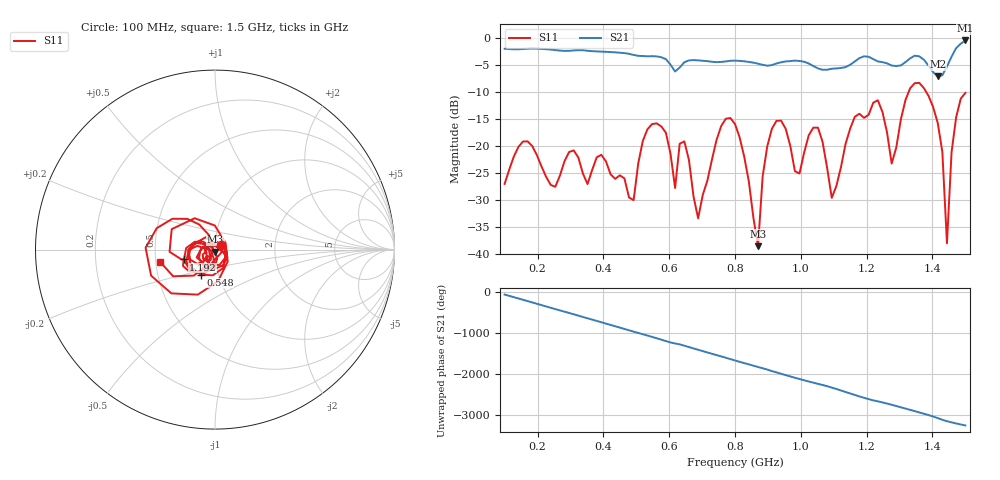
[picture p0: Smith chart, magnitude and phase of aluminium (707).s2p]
! NanoVNA-App
! Date: 2025-09-25 15:00:47
! Start: 100MHz Stop: 1,5GHz Points: 101
! S-Parameter data: F S11 S21 S12 S22
# Hz S RI R 50
!  Frequency  S11_Real  S11_Imag  S21_Real  S21_Imag  S12_Real  S12_Imag  S22_Real  S22_Imag
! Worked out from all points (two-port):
!   101 points, 100 MHz to 1.5 GHz, reference 50 ohm
!   highest |S21| = -0.39 dB at 1.5 GHz (marker M1); lowest = -7.0 dB at 1.416 GHz (marker M2)
!   |S21| within 3 dB of the highest: start of sweep to 566.6 MHz; 1.458 GHz to end of sweep (the widest 2 of 4)
!   lowest |S11| = -38.5 dB at 870 MHz (marker M3), VSWR 1.02, Z = 50.1 - j1.19 ohm
!   |S11| at or under -10 dB: start of sweep to 1.327 GHz; 1.382 GHz to end of sweep
!   S12 and S22 are empty: the file has one direction only
!   S11 on the Smith chart (normalised r, x): 100 MHz: 1.07, +0.06; 548 MHz: 0.82, -0.23; 1.192 GHz: 0.70, -0.08; 1.5 GHz: 0.53, -0.08
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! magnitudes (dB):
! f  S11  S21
! 100 MHz  -27.0  -1.9
! 338 MHz  -25.1  -2.2
! 492 MHz  -30.0  -3.1
! 548 MHz  -15.9  -3.3
! 576 MHz  -16.3  -3.5
! 618 MHz  -27.7  -6.1
! 646 MHz  -19.1  -4.4
! 688 MHz  -33.3  -4.1
! 800 MHz  -15.9  -4.1
! 870 MHz  -38.5  -4.7
! 912 MHz  -16.8  -5.0
! 996 MHz  -25.0  -4.2
! 1.038 GHz  -16.5  -5.1
! 1.094 GHz  -29.5  -5.6
! 1.192 GHz  -14.7  -3.3
! 1.234 GHz  -11.5  -4.3
! 1.276 GHz  -23.2  -5.0
! 1.346 GHz  -8.3  -3.2
! 1.416 GHz  -15.7  -7.0
! 1.444 GHz  -38.0  -5.2
! 1.458 GHz  -21.1  -3.4
! 1.5 GHz  -10.1  -0.4
